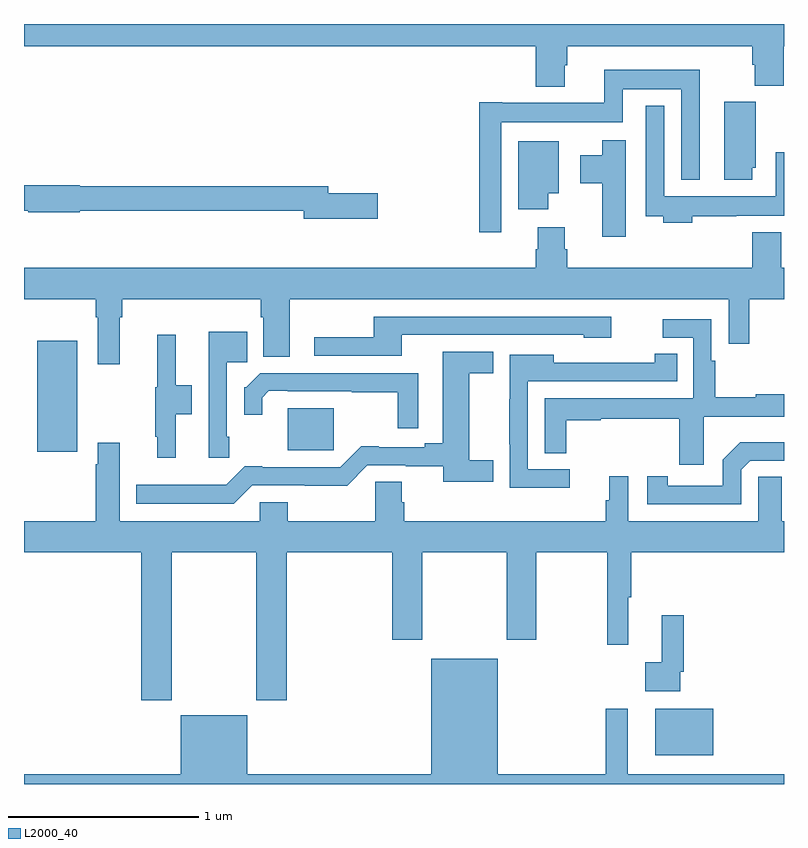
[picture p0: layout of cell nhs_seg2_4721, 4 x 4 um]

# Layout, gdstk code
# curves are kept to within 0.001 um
import gdstk
lib = gdstk.Library(unit=1e-6, precision=1e-09)
def R(c, l, rs):  # rectangles x0, y0, x1, y1
    for r in rs: c.add(gdstk.rectangle(r[:2], r[2:], *l))
def P(c, l, *ps):  # polygons
    for p in ps: c.add(gdstk.Polygon(p, *l))
L2000_40 = (2000, 40)

nhs_seg2_4721 = lib.new_cell('nhs_seg2_4721')
R(nhs_seg2_4721, L2000_40, [(372.323,595.952,372.628,596.197), (369.071,597.548,369.28,598.132), (370.388,597.557,370.63,597.778)])
P(nhs_seg2_4721, L2000_40, [(371.845,599.583),(371.858,599.583),(371.858,599.684),(372.833,599.684),(372.833,599.585),(372.845,599.585),(372.845,599.476),(372.998,599.476),(372.998,599.684),(373,599.684),(373,599.8),(369,599.8),(369,599.684),(371.693,599.684),(371.693,599.471),(371.845,599.471)],
  [(371.511,599.282),(372.15,599.282),(372.15,599.456),(372.459,599.456),(372.459,598.979),(372.556,598.979),(372.556,599.56),(372.053,599.56),(372.053,599.386),(371.518,599.386),(371.518,599.389),(371.395,599.389),(371.395,598.704),(371.511,598.704)],
  [(372.832,599.043),(372.85,599.043),(372.85,599.391),(372.686,599.391),(372.686,598.98),(372.832,598.98)],
  [(372.518,598.788),(372.749,598.788),(372.749,598.79),(373,598.79),(373,599.125),(372.957,599.125),(372.957,598.894),(372.369,598.894),(372.369,599.371),(372.273,599.371),(372.273,598.788),(372.365,598.788),(372.365,598.754),(372.518,598.754)],
  [(372.166,599.188),(372.044,599.188),(372.044,599.11),(371.927,599.11),(371.927,598.963),(372.044,598.963),(372.044,598.68),(372.166,598.68)],
  [(371.758,598.91),(371.815,598.91),(371.815,599.182),(371.6,599.182),(371.6,598.824),(371.758,598.824)],
  [(370.861,598.91),(370.6,598.91),(370.6,598.946),(369.294,598.946),(369.294,598.952),(369,598.952),(369,598.817),(369.022,598.817),(369.022,598.81),(369.294,598.81),(369.294,598.818),(370.472,598.818),(370.472,598.775),(370.861,598.775)],
  [(369.505,598.256),(369.518,598.256),(369.518,598.352),(370.247,598.352),(370.247,598.256),(370.259,598.256),(370.259,598.048),(370.399,598.048),(370.399,598.352),(372.708,598.352),(372.708,598.116),(372.817,598.116),(372.817,598.352),(373,598.352),(373,598.516),(372.985,598.516),(372.985,598.705),(372.833,598.705),(372.833,598.516),(371.858,598.516),(371.858,598.614),(371.845,598.614),(371.845,598.729),(371.705,598.729),(371.705,598.614),(371.693,598.614),(371.693,598.516),(369,598.516),(369,598.352),(369.377,598.352),(369.377,598.256),(369.389,598.256),(369.389,598.008),(369.505,598.008)],
  [(370.987,598.164),(371.946,598.164),(371.946,598.148),(372.091,598.148),(372.091,598.26),(370.84,598.26),(370.84,598.151),(370.527,598.151),(370.527,598.053),(370.987,598.053)],
  [(372.577,597.734),(373,597.734),(373,597.851),(372.852,597.851),(372.852,597.836),(372.638,597.836),(372.638,598.028),(372.618,598.028),(372.618,598.245),(372.363,598.245),(372.363,598.149),(372.522,598.149),(372.522,597.831),(371.742,597.831),(371.742,597.541),(371.854,597.541),(371.854,597.715),(372.035,597.715),(372.035,597.723),(372.449,597.723),(372.449,597.48),(372.577,597.48)],
  [(370.081,597.628),(370.068,597.628),(370.068,598.02),(370.174,598.02),(370.174,598.18),(369.972,598.18),(369.972,597.516),(370.081,597.516)],
  [(369.799,597.745),(369.883,597.745),(369.883,597.9),(369.799,597.9),(369.799,598.165),(369.701,598.165),(369.701,597.888),(369.69,597.888),(369.69,597.628),(369.701,597.628),(369.701,597.516),(369.799,597.516)],
  [(370.2,597.372),(370.7,597.371),(370.806,597.477),(371.01,597.477),(371.01,597.472),(371.207,597.472),(371.207,597.392),(371.471,597.392),(371.471,597.503),(371.344,597.503),(371.344,597.961),(371.471,597.961),(371.471,598.075),(371.204,598.075),(371.204,597.593),(371.108,597.593),(371.108,597.573),(370.867,597.573),(370.867,597.578),(370.775,597.578),(370.665,597.468),(370.255,597.468),(370.255,597.473),(370.163,597.473),(370.065,597.375),(369.59,597.376),(369.59,597.275),(370.103,597.275)],
  [(371.872,597.456),(371.652,597.456),(371.652,597.921),(372.437,597.921),(372.437,598.064),(372.319,598.064),(372.319,598.018),(371.788,598.018),(371.788,598.06),(371.556,598.06),(371.556,597.824),(371.555,597.824),(371.555,597.589),(371.556,597.589),(371.556,597.359),(371.872,597.359)],
  [(371.076,597.963),(370.244,597.963),(370.169,597.888),(370.158,597.888),(370.158,597.744),(370.253,597.744),(370.253,597.834),(370.288,597.87),(370.387,597.87),(370.387,597.867),(370.726,597.867),(370.726,597.862),(370.968,597.862),(370.968,597.672),(371.076,597.672)],
  [(372.774,597.453),(372.822,597.501),(373,597.501),(373,597.598),(372.769,597.598),(372.678,597.507),(372.678,597.369),(372.388,597.369),(372.388,597.421),(372.279,597.421),(372.279,597.273),(372.774,597.273)],
  [(372.197,597.02),(373,597.02),(373,597.184),(372.987,597.184),(372.987,597.416),(372.864,597.416),(372.864,597.184),(372.181,597.184),(372.181,597.421),(372.08,597.421),(372.08,597.294),(372.063,597.294),(372.063,597.184),(371,597.184),(371,597.282),(370.987,597.282),(370.987,597.392),(370.848,597.392),(370.848,597.184),(370.389,597.184),(370.389,597.282),(370.242,597.282),(370.242,597.184),(369.505,597.184),(369.505,597.595),(369.389,597.595),(369.389,597.482),(369.377,597.482),(369.377,597.184),(369,597.184),(369,597.02),(369.617,597.02),(369.617,596.241),(369.777,596.241),(369.777,597.02),(370.222,597.02),(370.222,596.241),(370.382,596.241),(370.382,597.02),(370.937,597.02),(370.937,596.559),(371.097,596.559),(371.097,597.02),(371.542,597.02),(371.542,596.559),(371.697,596.559),(371.697,597.02),(372.069,597.02),(372.069,596.532),(372.179,596.532),(372.179,596.784),(372.197,596.784)],
  [(372.453,596.392),(372.473,596.392),(372.473,596.689),(372.356,596.689),(372.356,596.441),(372.27,596.441),(372.27,596.288),(372.453,596.288)],
  [(373,595.852),(372.178,595.852),(372.178,596.197),(372.061,596.197),(372.061,595.852),(371.494,595.852),(371.494,596.458),(371.144,596.458),(371.144,595.852),(370.174,595.852),(370.174,596.161),(369.824,596.161),(369.824,595.852),(369,595.852),(369,595.8),(373,595.8)])

lib.write_gds('nhs_seg2_4721.gds')
